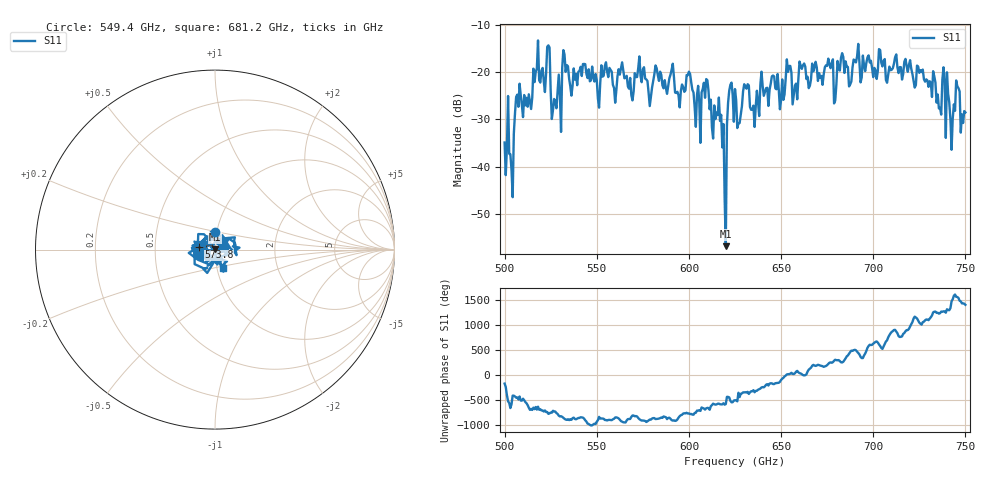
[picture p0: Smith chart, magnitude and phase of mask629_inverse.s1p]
!Created with skrf (http://scikit-rf.org).
# GHz S MA R 50.0
!freq magS11 angS11
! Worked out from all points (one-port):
!   401 points, 500 GHz to 750 GHz, reference 50 ohm
!   lowest |S11| = -56.8 dB at 620 GHz (marker M1), VSWR 1.00, Z = 49.9 + j0.109 ohm
!   |S11| at or under -10 dB: start of sweep to end of sweep
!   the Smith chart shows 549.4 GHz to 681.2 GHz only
!   S11 on the Smith chart (normalised r, x): 549.4 GHz: 0.98, +0.19; 573.8 GHz: 0.83, +0.02; 681.2 GHz: 1.07, -0.22
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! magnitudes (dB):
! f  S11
! 500 GHz  -34.9
! 503.8 GHz  -40.7
! 506.9 GHz  -24.7
! 513.8 GHz  -26.2
! 516.9 GHz  -19.9
! 523.8 GHz  -14.3
! 526.9 GHz  -25.7
! 531.2 GHz  -19.1
! 549.4 GHz  -20.4
! 562.5 GHz  -20.5
! 568.8 GHz  -24.8
! 573.8 GHz  -20.8
! 590.6 GHz  -19.4
! 593.8 GHz  -24.1
! 600 GHz  -19.9
! 605 GHz  -22.9
! 609.4 GHz  -21.4
! 616.2 GHz  -25.4
! 618.8 GHz  -31.0
! 620 GHz  -56.8
! 621.9 GHz  -23.9
! 625 GHz  -23.6
! 656.2 GHz  -26.8
! 681.2 GHz  -19.2
! 687.5 GHz  -22.6
! 690.6 GHz  -17.9
! 718.8 GHz  -19.9
! 750 GHz  -28.5
